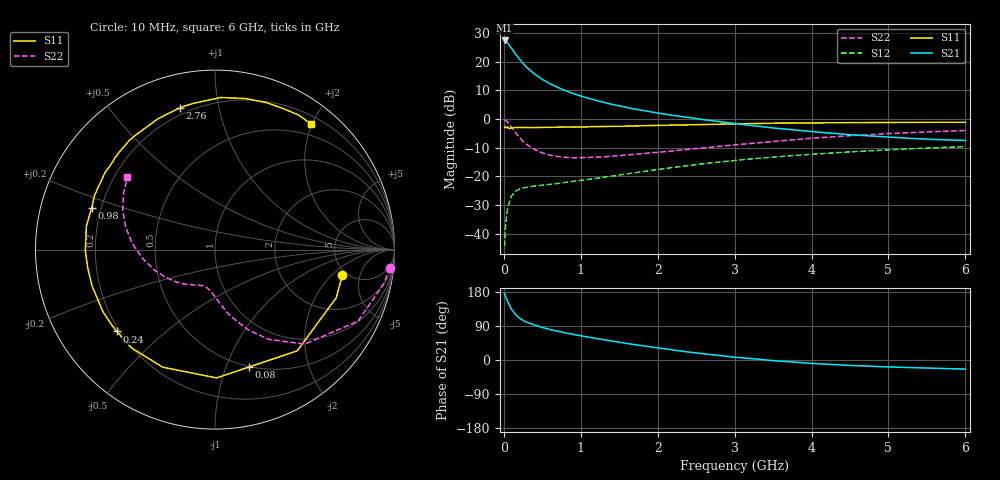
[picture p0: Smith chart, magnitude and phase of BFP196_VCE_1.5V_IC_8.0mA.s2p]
! Infineon Technologies  Discrete & RF Semiconductors
! BFP196
! VCE = 1.5 V,  IC = 8.0mA
! Common Emitter S-Parameters:  Jan 2016
# GHz  S  MA  R  50
!  f  S11  S21  S12  S22
! GHz  MAG  ANG  MAG  ANG  MAG  ANG  MAG  ANG
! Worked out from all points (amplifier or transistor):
!   210 points, 10 MHz to 6 GHz, reference 50 ohm
!   highest |S21| = 27.4 dB at 10 MHz (marker M1)
!   |S21| within 3 dB of that: start of sweep to 108.6 MHz
!   unconditionally stable (mu >= 1): 918.3 MHz to 3.421 GHz
!   at 185 MHz: K = 0.27, MSG = 23.1 dB, |S12| = -24.7 dB
!   at 1.52 GHz: K = 1.18, MAG = 9.4 dB, |S12| = -19.4 dB
!   at 6 GHz: K = 1.00, MSG = 1.1 dB, |S12| = -9.6 dB
!   S11 on the Smith chart (normalised r, x): 10 MHz: 4.56, -2.72; 80 MHz: 0.49, -1.21; 240 MHz: 0.19, -0.35; 980 MHz: 0.16, +0.16; 2.76 GHz: 0.17, +0.77; 6 GHz: 0.32, +1.99
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0.01  0.7237 -11.3  23.44 175.3  0.0061 86.7  0.979 -5.9
0.02  0.7269 -21.7  22.83 168.5  0.0122 78.7  0.9607 -11.2
0.05  0.7268 -50.9  21.17 153.5  0.0283 66.4  0.8912 -26.6
0.08  0.6812 -73.9  18.56 142.5  0.0385 54.8  0.7802 -37.6
0.1  0.715 -89.3  17.28 133.6  0.0459 50.0  0.7259 -46.5
0.15  0.7173 -114.0  13.64 120.1  0.055 40.6  0.5826 -59.1
0.2  0.7186 -130.5  11.19 111.0  0.06 34.9  0.4828 -67.6
0.24  0.712 -140.2  9.638 105.8  0.0625 32.0  0.4227 -72.5
0.26  0.7123 -144.3  8.989 103.3  0.0636 31.0  0.3985 -74.8
0.3  0.714 -151.1  7.911 99.3  0.065 29.6  0.3603 -78.8
0.4  0.7143 -163.7  6.102 91.9  0.0682 28.3  0.2955 -85.4
0.5  0.7163 -171.6  4.918 85.8  0.0703 28.3  0.2571 -90.8
0.7  0.7219 174.7  3.569 75.6  0.0755 30.5  0.2233 -99.1
0.98  0.7257 161.2  2.571 64.6  0.0847 34.0  0.212 -107.5
1.02  0.728 159.4  2.474 63.1  0.086 34.5  0.2124 -108.7
1.4  0.7486 144.6  1.81 50.2  0.1011 38.4  0.2254 -119.0
2.02  0.7763 124.7  1.262 31.5  0.1332 40.1  0.2647 -135.5
2.76  0.8131 103.9  0.92 12.7  0.1762 36.6  0.3299 -155.0
3.1  0.8263 96.3  0.807 5.7  0.1957 33.4  0.3643 -163.8
4.1  0.8593 76.9  0.59 -10.0  0.2485 23.0  0.4726 173.3
5.1  0.8741 62.9  0.476 -18.9  0.2953 11.6  0.5657 155.2
6  0.8814 52.5  0.424 -24.1  0.3314 0.8  0.6321 140.5
